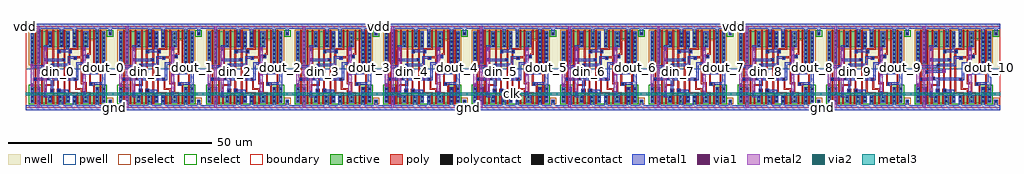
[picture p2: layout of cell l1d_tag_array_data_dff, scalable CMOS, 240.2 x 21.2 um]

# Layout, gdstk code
import gdstk
lib = gdstk.Library(unit=1e-6, precision=1e-09)
def R(c, l, rs):  # rectangles x0, y0, x1, y1
    for r in rs: c.add(gdstk.rectangle(r[:2], r[2:], *l))
def A(c, l, x, y, w, h, nx, ny, dx, dy):  # array of equal rectangles
    R(c, l, [(x+i*dx, y+j*dy, x+i*dx+w, y+j*dy+h) for i in range(nx) for j in range(ny)])
pwell = (41, 0)
nwell = (42, 0)
active = (43, 0)
pselect = (44, 0)
nselect = (45, 0)
poly = (46, 0)
polycontact = (47, 0)
activecontact = (48, 0)
metal1 = (49, 0)
via1 = (50, 0)
metal2 = (51, 0)
via2 = (61, 0)
metal3 = (62, 0)
boundary = (63, 0)

dff = lib.new_cell('dff')
R(dff, pwell, [(0,-0.6,21.8,9.6)])
R(dff, nwell, [(0,9.6,21.8,20.6)])
R(dff, active, [(1.2,1.2,10.8,3.2), (11.6,1.2,19.6,3.2), (20.4,1.2,21.2,2), (1.2,3.2,3.6,5.2), (17.2,3.2,19.6,5.2), (1.2,10.8,3.6,14.8), (17.2,10.8,19.6,16.8), (1.2,14.8,10.8,18.8), (11.6,14.8,15.4,16.8), (11.6,16.8,19.6,18.8), (20.4,17.8,21.2,18.6)])
R(dff, pselect, [(20,0.8,21.6,2.4), (0.8,10.4,4,14.4), (16.8,10.4,20,16.4), (0.8,14.4,15.8,16.4), (0.8,16.4,20,19.2)])
R(dff, nselect, [(0.8,0.8,20,3.6), (0.8,3.6,4,5.6), (16.8,3.6,20,5.6), (20,17.4,21.6,19)])
R(dff, poly, [(2.2,0.8,2.6,6.6), (3.8,0.8,4.2,8.4), (4.8,0.8,5.2,5.4), (6.6,0.8,7,3.8), (7.6,0.8,8,3.8), (9.4,0.8,9.8,11.4), (12.6,0.8,13,3.4), (13.6,0.8,14,4.4), (15.6,0.8,16,3.4), (16.6,0.8,17,5.4), (18.2,0.8,18.6,8.2), (10.6,3.4,13,3.8), (14.6,3.4,16,3.8), (6,3.8,7,4.6), (7.6,3.8,8.6,4.6), (10.6,3.8,11,13.4), (14.6,3.8,15,5.8), (12.2,4.4,14,4.8), (7.8,4.6,8.2,13.4), (12.2,4.8,12.6,6.6), (4.8,5.4,7,5.8), (15.6,5.4,17,6.2), (6.6,5.8,7,10), (13.6,5.8,15,6.2), (13.6,6.2,14,12.2), (15.6,6.2,16,9.4), (2,6.6,2.8,7.4), (11.8,6.6,12.6,7.4), (5,6.8,5.8,7.6), (2.2,7.4,2.6,19.2), (5,7.6,5.4,19.2), (17,8.2,18.6,9), (3.4,8.4,4.2,9.2), (18.2,9,18.6,19.2), (3.8,9.2,4.2,19.2), (15.4,9.4,16.2,10.2), (6.2,10,7,10.8), (15.8,10.2,17,10.6), (16.6,10.6,17,19.2), (6.6,10.8,7,19.2), (9,11.4,9.8,12.2), (11.8,11.8,12.6,12.2), (9.4,12.2,9.8,19.2), (11.8,12.2,14,12.6), (14.8,12.2,15.6,13), (13.6,12.6,14,19.2), (15.2,13,16,13.4), (7.8,13.4,8.6,14.2), (10.6,13.4,11.4,14.2), (15.6,13.4,16,19.2), (7.8,14.2,8.2,19.2), (10.8,14.2,13,14.6), (12.6,14.6,13,19.2)])
R(dff, polycontact, [(6.2,4,6.6,4.4), (8,4,8.4,4.4), (16,5.6,16.4,6), (2.2,6.8,2.6,7.2), (12,6.8,12.4,7.2), (5.2,7,5.6,7.4), (17.2,8.4,17.6,8.8), (3.6,8.6,4,9), (15.6,9.6,16,10), (6.4,10.2,6.8,10.6), (9.2,11.6,9.6,12), (12,12,12.4,12.4), (15,12.4,15.4,12.8), (8,13.6,8.4,14), (10.8,13.6,11.2,14)])
A(dff, activecontact, 1.4, 1.4, 0.4, 0.4, 1, 4, 0, 1)
A(dff, activecontact, 3, 1.4, 0.4, 0.4, 1, 4, 0, 1)
A(dff, activecontact, 11.8, 1.4, 0.4, 0.4, 3, 2, 2.8, 1)
A(dff, activecontact, 19, 1.4, 0.4, 0.4, 1, 4, 0, 1)
A(dff, activecontact, 1.4, 11, 0.4, 0.4, 1, 8, 0, 1)
A(dff, activecontact, 17.4, 11, 0.4, 0.4, 1, 7, 0, 1)
A(dff, activecontact, 19, 11, 0.4, 0.4, 1, 7, 0, 1)
A(dff, activecontact, 3, 11.2, 0.4, 0.4, 1, 8, 0, 1)
A(dff, activecontact, 5.8, 15, 0.4, 0.4, 1, 4, 0, 1)
A(dff, activecontact, 8.6, 15, 0.4, 0.4, 3, 4, 1.6, 1)
A(dff, activecontact, 14.6, 15, 0.4, 0.4, 1, 4, 0, 1)
A(dff, activecontact, 17.4, 18, 0.4, 0.4, 3, 1, 1.6, 0)
R(dff, activecontact, [(5.8,1.4,6.2,1.8), (8.4,1.4,8.8,1.8), (10.2,1.4,10.6,1.8), (20.6,1.4,21,1.8), (5.8,2.4,6.2,2.8), (8.4,2.4,8.8,2.8), (10.2,2.4,10.6,2.8), (17.4,3.4,17.8,3.8), (17.4,4.4,17.8,4.8)])
R(dff, metal1, [(0,-0.6,21.8,0.6), (0,-0.6,21.8,0.6), (2.8,0.6,3.6,5.2), (8.2,0.6,9.2,3.2), (11.6,0.6,12.4,3.2), (17.2,0.6,18,5), (20.4,0.6,21.2,2), (1.2,1.2,2,6), (5.6,1.2,6.4,2.6), (10,1.2,10.8,3.2), (14.2,1.2,15.4,2.6), (18.8,1.2,19.6,5.6), (4.4,2.6,6.4,3.2), (14,2.6,15.4,3.2), (4.4,3.2,5.2,4), (10,3.2,10.6,3.8), (14,3.2,14.8,4), (6,3.8,6.8,4.6), (7.8,3.8,10.6,4.4), (7.8,4.4,8.6,4.6), (6.2,4.6,6.8,6.8), (15.8,5.4,16.6,5.6), (15.8,5.6,19.6,6.2), (18.8,6.2,19.6,9.6), (2,6.6,3.6,6.8), (11.8,6.6,12.6,6.8), (2,6.8,13,7.4), (5,7.4,5.8,7.6), (12.4,7.4,13,10.6), (14,8,14.8,8.2), (14,8.2,17.8,8.8), (3.4,8.4,4.2,8.6), (3.4,8.6,8.4,9.2), (17,8.8,17.8,9), (7.6,9.2,8.4,9.4), (15.4,9.4,16.2,9.6), (15.4,9.6,19.6,10.2), (1.2,9.8,6.8,10), (1.2,10,7,10.2), (1.2,10.2,11,10.4), (18.8,10.2,19.6,18.8), (1.2,10.4,2,18.8), (6.2,10.4,11,10.8), (12.4,10.6,14.8,11.2), (10.4,10.8,11,12), (17.2,10.8,18,19.4), (2.8,11,3.6,19.4), (14.2,11.2,14.8,12.2), (4.4,11.4,9.8,12), (11.8,11.8,12.6,12), (4.4,12,5.2,12.2), (9,12,9.8,12.2), (10.4,12,12.6,12.6), (14.2,12.2,15.6,13), (7.8,13.4,8.6,13.6), (10.6,13.4,11.4,13.6), (7.8,13.6,11.4,14.2), (4.4,14,5.2,14.8), (14,14,14.8,14.8), (10,14.2,10.6,14.8), (4.4,14.8,6.4,15.4), (8.4,14.8,9.2,19.4), (10,14.8,10.8,18.8), (11.6,14.8,12.4,19.4), (14.2,14.8,15.4,18.8), (5.6,15.4,6.4,18.8), (20.4,17.8,21.2,19.4), (0,19.4,21.8,20.6), (0,19.4,21.8,20.6)])
R(dff, via1, [(4.6,3.4,5,3.8), (14.2,3.4,14.6,3.8), (1.4,5.4,1.8,5.8), (3,6.8,3.4,7.2), (14.2,8.2,14.6,8.6), (7.8,8.8,8.2,9.2), (19,9.6,19.4,10), (1.4,10.2,1.8,10.6), (4.6,11.6,5,12), (4.6,14.2,5,14.6), (14.2,14.2,14.6,14.6)])
R(dff, metal2, [(4.4,3.2,5.2,14.8), (14,3.2,14.8,14.8), (1.2,5.2,2,10.8), (2.8,6.6,3.6,7.4), (2.8,6.6,3.6,7.4), (7.6,8.6,8.4,9.4), (7.6,8.6,8.4,9.4), (18.8,9.4,19.6,10.2), (18.8,9.4,19.6,10.2)])
R(dff, boundary, [(0,0,21.8,20)])
dff.add(gdstk.Label('clk', (3,6.8), layer=51, texttype=0))
dff.add(gdstk.Label('D', (8,9), layer=51, texttype=0))
dff.add(gdstk.Label('Q', (19.2,9.8), layer=51, texttype=0))
dff.add(gdstk.Label('vdd', (6.4,19.6), layer=49, texttype=0))
dff.add(gdstk.Label('gnd', (8.8,0.2), layer=49, texttype=0))
dff.add(gdstk.Label('D', (8,9), layer=51, texttype=0))
dff.add(gdstk.Label('Q', (19.2,9.8), layer=51, texttype=0))
dff.add(gdstk.Label('clk', (3.2,7), layer=51, texttype=0))
dff.add(gdstk.Label('vdd', (10.9,20), layer=49, texttype=0))
dff.add(gdstk.Label('gnd', (10.9,0), layer=49, texttype=0))

l1d_tag_array_contact_17 = lib.new_cell('l1d_tag_array_contact_17')
R(l1d_tag_array_contact_17, metal1, [(0,0,0.8,0.8)])
R(l1d_tag_array_contact_17, via1, [(0.2,0.2,0.6,0.6)])
R(l1d_tag_array_contact_17, metal2, [(0,0,0.8,0.8)])
R(l1d_tag_array_contact_17, boundary, [(0,0,0.8,0.8)])

l1d_tag_array_contact_18 = lib.new_cell('l1d_tag_array_contact_18')
R(l1d_tag_array_contact_18, metal2, [(0,0,0.8,0.8)])
R(l1d_tag_array_contact_18, via2, [(0.2,0.2,0.6,0.6)])
R(l1d_tag_array_contact_18, metal3, [(0,0,0.8,0.8)])
R(l1d_tag_array_contact_18, boundary, [(0,0,0.8,0.8)])

l1d_tag_array_data_dff = lib.new_cell('l1d_tag_array_data_dff')
A(l1d_tag_array_data_dff, metal2, 2.8, 0, 0.6, 20, 11, 1, 21.8, 0)
A(l1d_tag_array_data_dff, metal2, 7.6, 8.6, 0.8, 0.8, 11, 1, 21.8, 0)
A(l1d_tag_array_data_dff, metal2, 18.8, 9.4, 0.8, 0.8, 11, 1, 21.8, 0)
A(l1d_tag_array_data_dff, metal3, 21.4, -0.4, 0.8, 0.8, 3, 1, 87.2, 0)
A(l1d_tag_array_data_dff, metal3, -0.4, 19.6, 0.8, 0.8, 3, 1, 87.2, 0)
R(l1d_tag_array_data_dff, metal3, [(0,3.1,239.8,3.7)])
R(l1d_tag_array_data_dff, boundary, [(0,0,239.8,20)])
l1d_tag_array_data_dff.add(gdstk.Reference(dff, (0,0)))
l1d_tag_array_data_dff.add(gdstk.Reference(dff, (21.8,0)))
l1d_tag_array_data_dff.add(gdstk.Reference(dff, (43.6,0)))
l1d_tag_array_data_dff.add(gdstk.Reference(dff, (65.4,0)))
l1d_tag_array_data_dff.add(gdstk.Reference(dff, (87.2,0)))
l1d_tag_array_data_dff.add(gdstk.Reference(dff, (109,0)))
l1d_tag_array_data_dff.add(gdstk.Reference(dff, (130.8,0)))
l1d_tag_array_data_dff.add(gdstk.Reference(dff, (152.6,0)))
l1d_tag_array_data_dff.add(gdstk.Reference(dff, (174.4,0)))
l1d_tag_array_data_dff.add(gdstk.Reference(dff, (196.2,0)))
l1d_tag_array_data_dff.add(gdstk.Reference(dff, (218,0)))
l1d_tag_array_data_dff.add(gdstk.Reference(l1d_tag_array_contact_17, (-0.4,19.6)))
l1d_tag_array_data_dff.add(gdstk.Reference(l1d_tag_array_contact_18, (-0.4,19.6)))
l1d_tag_array_data_dff.add(gdstk.Reference(l1d_tag_array_contact_17, (86.8,19.6)))
l1d_tag_array_data_dff.add(gdstk.Reference(l1d_tag_array_contact_18, (86.8,19.6)))
l1d_tag_array_data_dff.add(gdstk.Reference(l1d_tag_array_contact_17, (174,19.6)))
l1d_tag_array_data_dff.add(gdstk.Reference(l1d_tag_array_contact_18, (174,19.6)))
l1d_tag_array_data_dff.add(gdstk.Reference(l1d_tag_array_contact_17, (21.4,-0.4)))
l1d_tag_array_data_dff.add(gdstk.Reference(l1d_tag_array_contact_18, (21.4,-0.4)))
l1d_tag_array_data_dff.add(gdstk.Reference(l1d_tag_array_contact_17, (108.6,-0.4)))
l1d_tag_array_data_dff.add(gdstk.Reference(l1d_tag_array_contact_18, (108.6,-0.4)))
l1d_tag_array_data_dff.add(gdstk.Reference(l1d_tag_array_contact_17, (195.8,-0.4)))
l1d_tag_array_data_dff.add(gdstk.Reference(l1d_tag_array_contact_18, (195.8,-0.4)))
l1d_tag_array_data_dff.add(gdstk.Reference(l1d_tag_array_contact_18, (2.8,3)))
l1d_tag_array_data_dff.add(gdstk.Reference(l1d_tag_array_contact_18, (24.6,3)))
l1d_tag_array_data_dff.add(gdstk.Reference(l1d_tag_array_contact_18, (46.4,3)))
l1d_tag_array_data_dff.add(gdstk.Reference(l1d_tag_array_contact_18, (68.2,3)))
l1d_tag_array_data_dff.add(gdstk.Reference(l1d_tag_array_contact_18, (90,3)))
l1d_tag_array_data_dff.add(gdstk.Reference(l1d_tag_array_contact_18, (111.8,3)))
l1d_tag_array_data_dff.add(gdstk.Reference(l1d_tag_array_contact_18, (133.6,3)))
l1d_tag_array_data_dff.add(gdstk.Reference(l1d_tag_array_contact_18, (155.4,3)))
l1d_tag_array_data_dff.add(gdstk.Reference(l1d_tag_array_contact_18, (177.2,3)))
l1d_tag_array_data_dff.add(gdstk.Reference(l1d_tag_array_contact_18, (199,3)))
l1d_tag_array_data_dff.add(gdstk.Reference(l1d_tag_array_contact_18, (220.8,3)))
l1d_tag_array_data_dff.add(gdstk.Label('vdd', (0,20), layer=62, texttype=0))
l1d_tag_array_data_dff.add(gdstk.Label('vdd', (174.4,20), layer=62, texttype=0))
l1d_tag_array_data_dff.add(gdstk.Label('vdd', (87.2,20), layer=62, texttype=0))
l1d_tag_array_data_dff.add(gdstk.Label('gnd', (21.8,0), layer=62, texttype=0))
l1d_tag_array_data_dff.add(gdstk.Label('gnd', (196.2,0), layer=62, texttype=0))
l1d_tag_array_data_dff.add(gdstk.Label('gnd', (109,0), layer=62, texttype=0))
l1d_tag_array_data_dff.add(gdstk.Label('din_0', (8,9), layer=51, texttype=0))
l1d_tag_array_data_dff.add(gdstk.Label('dout_0', (19.2,9.8), layer=51, texttype=0))
l1d_tag_array_data_dff.add(gdstk.Label('din_1', (29.8,9), layer=51, texttype=0))
l1d_tag_array_data_dff.add(gdstk.Label('dout_1', (41,9.8), layer=51, texttype=0))
l1d_tag_array_data_dff.add(gdstk.Label('din_2', (51.6,9), layer=51, texttype=0))
l1d_tag_array_data_dff.add(gdstk.Label('dout_2', (62.8,9.8), layer=51, texttype=0))
l1d_tag_array_data_dff.add(gdstk.Label('din_3', (73.4,9), layer=51, texttype=0))
l1d_tag_array_data_dff.add(gdstk.Label('dout_3', (84.6,9.8), layer=51, texttype=0))
l1d_tag_array_data_dff.add(gdstk.Label('din_4', (95.2,9), layer=51, texttype=0))
l1d_tag_array_data_dff.add(gdstk.Label('dout_4', (106.4,9.8), layer=51, texttype=0))
l1d_tag_array_data_dff.add(gdstk.Label('din_5', (117,9), layer=51, texttype=0))
l1d_tag_array_data_dff.add(gdstk.Label('dout_5', (128.2,9.8), layer=51, texttype=0))
l1d_tag_array_data_dff.add(gdstk.Label('din_6', (138.8,9), layer=51, texttype=0))
l1d_tag_array_data_dff.add(gdstk.Label('dout_6', (150,9.8), layer=51, texttype=0))
l1d_tag_array_data_dff.add(gdstk.Label('din_7', (160.6,9), layer=51, texttype=0))
l1d_tag_array_data_dff.add(gdstk.Label('dout_7', (171.8,9.8), layer=51, texttype=0))
l1d_tag_array_data_dff.add(gdstk.Label('din_8', (182.4,9), layer=51, texttype=0))
l1d_tag_array_data_dff.add(gdstk.Label('dout_8', (193.6,9.8), layer=51, texttype=0))
l1d_tag_array_data_dff.add(gdstk.Label('din_9', (204.2,9), layer=51, texttype=0))
l1d_tag_array_data_dff.add(gdstk.Label('dout_9', (215.4,9.8), layer=51, texttype=0))
l1d_tag_array_data_dff.add(gdstk.Label('din_10', (226,9), layer=51, texttype=0))
l1d_tag_array_data_dff.add(gdstk.Label('dout_10', (237.2,9.8), layer=51, texttype=0))
l1d_tag_array_data_dff.add(gdstk.Label('clk', (119.9,3.4), layer=62, texttype=0))

lib.write_gds('l1d_tag_array_data_dff.gds')
